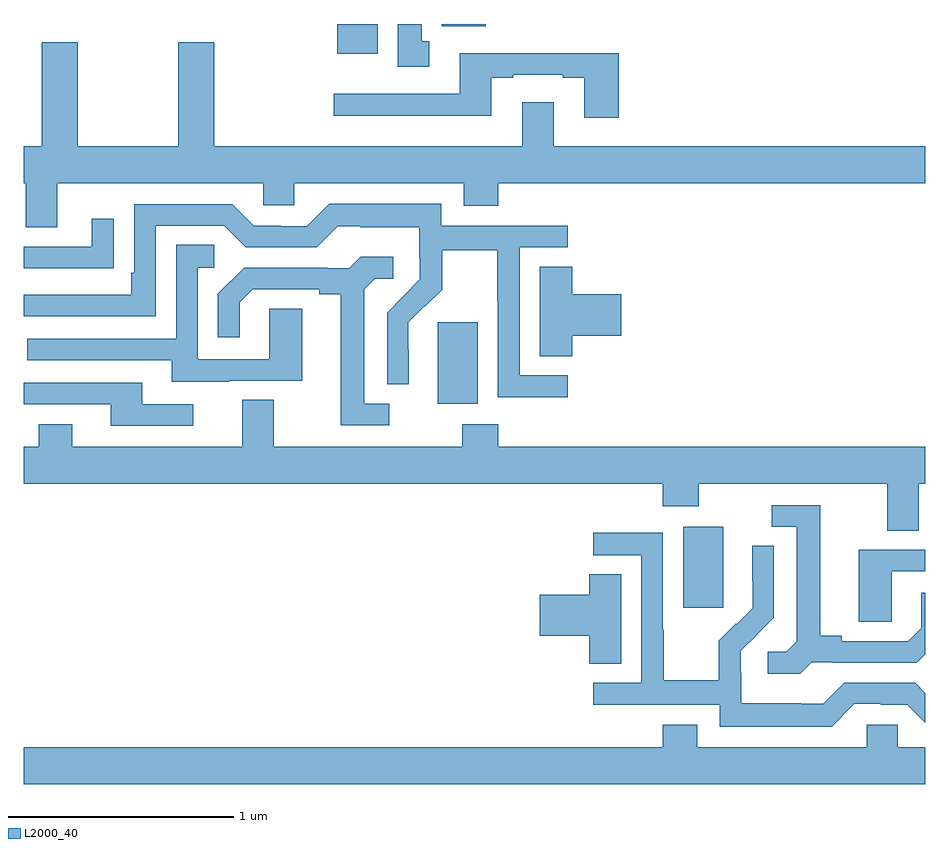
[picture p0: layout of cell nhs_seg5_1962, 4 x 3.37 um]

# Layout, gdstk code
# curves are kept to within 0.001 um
import gdstk
lib = gdstk.Library(unit=1e-6, precision=1e-09)
def R(c, l, rs):  # rectangles x0, y0, x1, y1
    for r in rs: c.add(gdstk.rectangle(r[:2], r[2:], *l))
def P(c, l, *ps):  # polygons
    for p in ps: c.add(gdstk.Polygon(p, *l))
L2000_40 = (2000, 40)

nhs_seg5_1962 = lib.new_cell('nhs_seg5_1962')
R(nhs_seg5_1962, L2000_40, [(229.925,856.209,230.104,856.57), (228.836,857.114,229.015,857.475), (228.392,858.668,228.571,858.799), (228.854,858.788,229.051,858.799)])
P(nhs_seg5_1962, L2000_40, [(228.799,858.722),(228.766,858.722),(228.766,858.799),(228.659,858.799),(228.659,858.609),(228.799,858.609)],
  [(228.063,857.994),(228.201,857.994),(228.201,858.092),(228.953,858.092),(228.953,857.993),(229.106,857.993),(229.106,858.092),(231,858.092),(231,858.256),(229.351,858.256),(229.351,858.451),(229.211,858.451),(229.211,858.256),(227.846,858.256),(227.846,858.718),(227.686,858.718),(227.686,858.256),(227.241,858.256),(227.241,858.718),(227.081,858.718),(227.081,858.256),(227,858.256),(227,858.092),(227.009,858.092),(227.009,857.898),(227.149,857.898),(227.149,858.092),(228.063,858.092)],
  [(229.64,858.67),(228.935,858.67),(228.935,858.489),(228.375,858.489),(228.375,858.392),(229.075,858.392),(229.075,858.561),(229.171,858.561),(229.171,858.573),(229.391,858.573),(229.391,858.561),(229.487,858.561),(229.487,858.384),(229.64,858.384)],
  [(229.414,857.241),(229.2,857.241),(229.2,857.808),(229.414,857.808),(229.414,857.904),(228.852,857.904),(228.852,858.001),(228.355,858.001),(228.255,857.901),(228.14,857.901),(228.14,857.904),(228.021,857.904),(227.925,858),(227.49,858),(227.49,857.695),(227.477,857.695),(227.477,857.598),(227,857.598),(227,857.502),(227.586,857.502),(227.586,857.904),(227.889,857.904),(227.985,857.808),(228.3,857.808),(228.393,857.901),(228.493,857.901),(228.493,857.897),(228.756,857.897),(228.756,857.763),(228.758,857.763),(228.758,857.666),(228.612,857.518),(228.612,857.2),(228.708,857.2),(228.707,857.477),(228.777,857.547),(228.78,857.544),(228.857,857.621),(228.857,857.796),(229.102,857.796),(229.102,857.572),(229.104,857.572),(229.104,857.143),(229.414,857.143)],
  [(227.297,857.716),(227.399,857.716),(227.399,857.935),(227.303,857.935),(227.303,857.811),(227,857.811),(227,857.715),(227.297,857.715)],
  [(227.911,857.217),(228.235,857.217),(228.235,857.537),(228.09,857.537),(228.09,857.313),(227.772,857.313),(227.772,857.718),(227.845,857.718),(227.845,857.819),(227.676,857.819),(227.676,857.403),(227.017,857.403),(227.017,857.307),(227.657,857.307),(227.657,857.213),(227.911,857.213)],
  [(228.622,857.115),(228.511,857.115),(228.511,857.623),(228.558,857.67),(228.64,857.67),(228.64,857.767),(228.496,857.767),(228.444,857.715),(228.35,857.715),(228.35,857.718),(227.978,857.718),(227.862,857.602),(227.862,857.409),(227.959,857.409),(227.959,857.565),(228.016,857.622),(228.311,857.622),(228.311,857.6),(228.407,857.6),(228.407,857.019),(228.622,857.019)],
  [(229.433,857.417),(229.651,857.417),(229.651,857.6),(229.433,857.6),(229.433,857.723),(229.289,857.723),(229.289,857.326),(229.433,857.326)],
  [(227.752,857.112),(227.527,857.112),(227.527,857.208),(227,857.208),(227,857.112),(227.387,857.112),(227.387,857.016),(227.752,857.016)],
  [(230.971,856.76),(231,856.76),(231,856.924),(229.106,856.924),(229.106,857.023),(228.946,857.023),(228.946,856.924),(228.109,856.924),(228.109,857.132),(227.969,857.132),(227.969,856.924),(227.215,856.924),(227.215,857.023),(227.068,857.023),(227.068,856.924),(227,856.924),(227,856.76),(229.835,856.76),(229.835,856.661),(229.995,856.661),(229.995,856.76),(230.831,856.76),(230.831,856.552),(230.971,856.552)],
  [(230.496,855.969),(230.59,855.969),(230.59,855.966),(230.962,855.966),(231,856.004),(231,856.276),(230.981,856.276),(230.981,856.119),(230.924,856.062),(230.629,856.062),(230.629,856.085),(230.533,856.085),(230.533,856.665),(230.319,856.665),(230.319,856.569),(230.429,856.569),(230.429,856.061),(230.382,856.014),(230.301,856.014),(230.301,855.917),(230.444,855.917)],
  [(230.685,855.783),(230.801,855.783),(230.801,855.78),(230.919,855.78),(231,855.699),(231,855.831),(230.955,855.876),(230.64,855.876),(230.547,855.783),(230.447,855.783),(230.447,855.787),(230.184,855.787),(230.184,855.921),(230.182,855.921),(230.182,856.018),(230.328,856.166),(230.328,856.484),(230.232,856.484),(230.232,856.33),(230.234,856.33),(230.234,856.208),(230.163,856.137),(230.16,856.14),(230.083,856.063),(230.083,855.889),(229.839,855.889),(229.839,856.112),(229.836,856.112),(229.836,856.542),(229.527,856.542),(229.527,856.443),(229.74,856.443),(229.74,855.876),(229.527,855.876),(229.527,855.78),(230.088,855.78),(230.088,855.683),(230.585,855.683)],
  [(230.85,856.371),(231,856.371),(231,856.467),(230.705,856.467),(230.705,856.147),(230.85,856.147)],
  [(229.651,856.358),(229.508,856.358),(229.508,856.268),(229.29,856.268),(229.29,856.085),(229.508,856.085),(229.508,855.961),(229.651,855.961)],
  [(229.835,855.691),(229.835,855.592),(227,855.592),(227,855.428),(231,855.428),(231,855.592),(230.877,855.592),(230.877,855.69),(230.739,855.69),(230.739,855.592),(229.987,855.592),(229.987,855.691)])

lib.write_gds('nhs_seg5_1962.gds')
